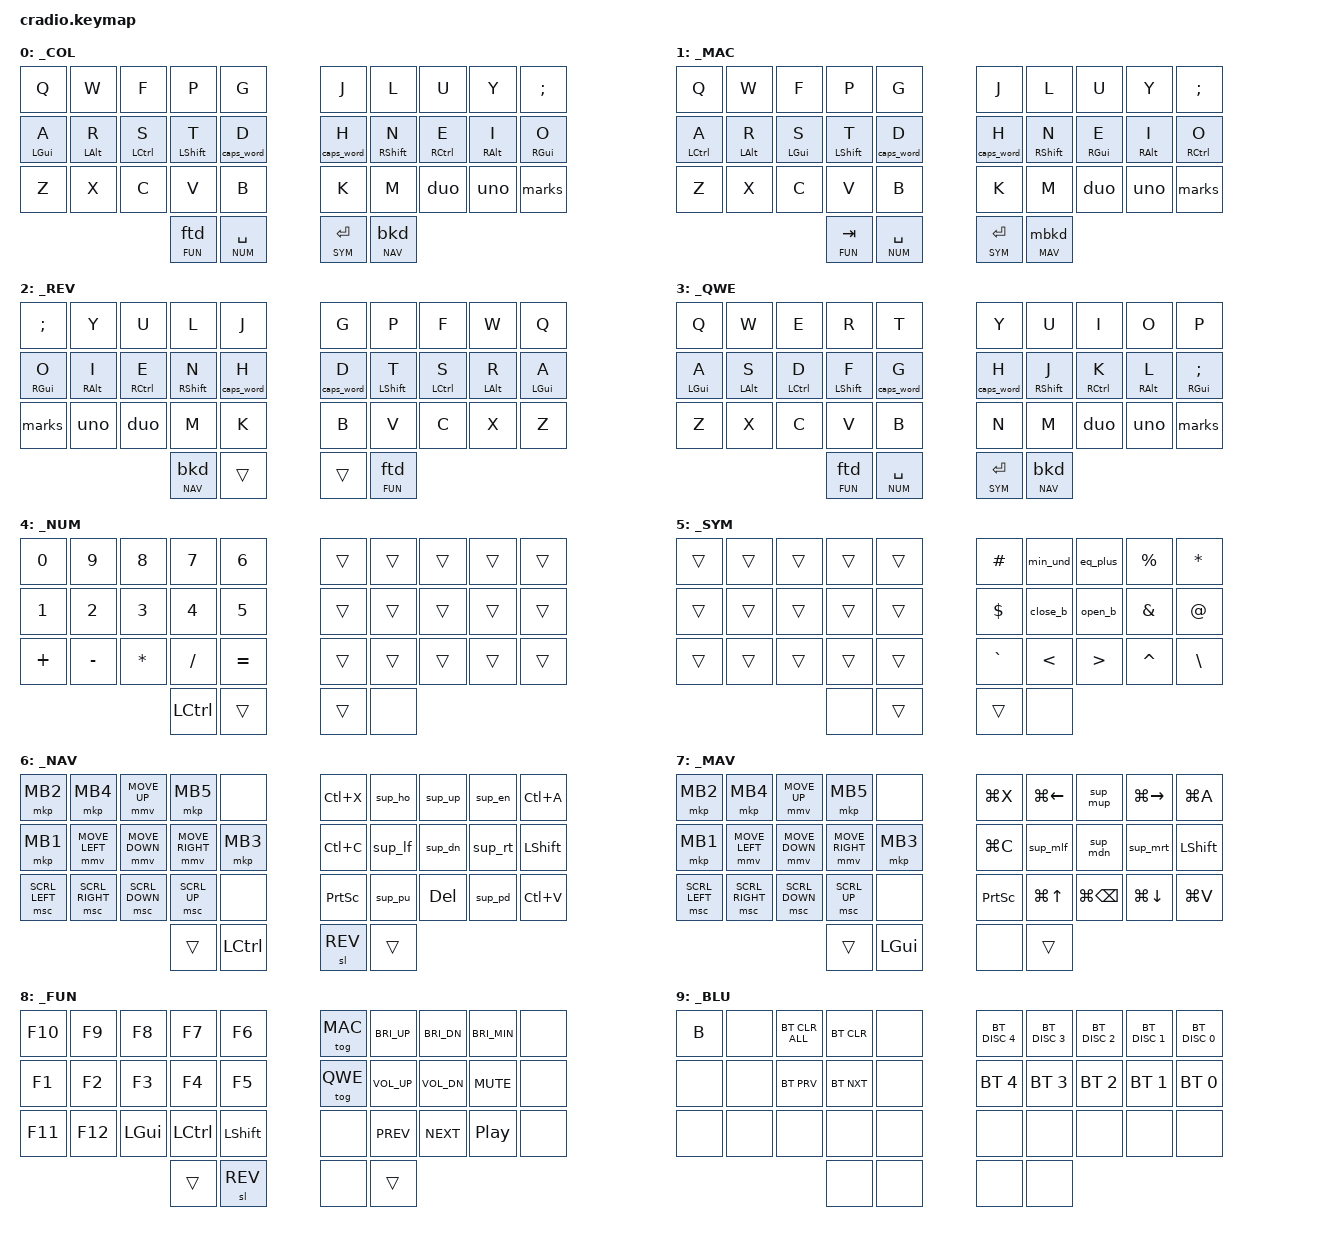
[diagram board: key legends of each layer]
// Copyright (c) 2022 The ZMK Contributors
// SPDX-License-Identifier: MIT

// Default mouse scroll and movement speeds
#define ZMK_POINTING_DEFAULT_MOVE_VAL 800  
#define ZMK_POINTING_DEFAULT_SCRL_VAL 20  

#include <behaviors.dtsi>
#include <dt-bindings/zmk/keys.h>
#include <dt-bindings/zmk/bt.h>
#include <dt-bindings/zmk/pointing.h>

// Mouse config
&mmv {
    time-to-max-speed-ms = <0>;
    acceleration-exponent = <0>;
};

&msc {
    time-to-max-speed-ms = <0>;
    acceleration-exponent = <0>;
};

// Sticky keys config
&sk {
    release-after-ms = <700>;
    lazy;
    quick-release;
    ignore-modifiers;
};

// Home row mods macro
#define COL 0
#define MAC 1
#define REV 2
#define QWE 3
#define NUM 4
#define SYM 5
#define NAV 6
#define MAV 7
#define FUN 8
#define BLU 9

/ {
    combos {
        compatible = "zmk,combos";
        lesc {
            timeout-ms = <270>;
            slow-release;
            key-positions = <0 1>;
            bindings = <&kp ESC>;
            layers = <COL NUM SYM NAV MAC MAV QWE>;
        };

        resc {
            timeout-ms = <270>;
            slow-release;
            key-positions = <8 9>;
            bindings = <&kp ESC>;
            layers = <COL NUM SYM NAV MAC MAV QWE>;
        };

        spac {
            timeout-ms = <270>;
            slow-release;
            key-positions = <30 31>;
            bindings = <&kp SPACE>;
            layers = <COL NUM SYM MAC QWE>;
        };

        bacc {
            timeout-ms = <270>;
            slow-release;
            key-positions = <32 33>;
            bindings = <&kp BSPC>;
            layers = <COL NUM SYM MAC QWE>;
        };
    };

    macros {
        back_wrd: backword_macro {
            compatible = "zmk,behavior-macro";
            #binding-cells = <0>;
            bindings = <&macro_press &kp LCTRL>, <&macro_tap &kp BSPC>, <&macro_release &kp LCTRL>;
        };

        front_wrd: frontword_macro {
            compatible = "zmk,behavior-macro";
            #binding-cells = <0>;
            bindings = <&macro_press &kp LCTRL>, <&macro_tap &kp DEL>, <&macro_release &kp LCTRL>;
        };

        back_ln: backline_macro {
            compatible = "zmk,behavior-macro";
            #binding-cells = <0>;
            bindings = <&macro_press &kp LSHFT>, <&macro_tap &kp HOME>, <&macro_release &kp LSHFT>, <&macro_tap &kp BSPC>;
        };

        front_ln: frontline_macro {
            compatible = "zmk,behavior-macro";
            #binding-cells = <0>;
            bindings = <&macro_press &kp LSHFT>, <&macro_tap &kp END>, <&macro_release &kp LSHFT>, <&macro_tap &kp BSPC>;
        };

    };

    behaviors {
        // HOME ROW BEHAVIORS
        hml: home_row_mod_left {
            compatible = "zmk,behavior-hold-tap";
            #binding-cells = <2>;
            flavor = "balanced";
            require-prior-idle-ms = <70>;
            tapping-term-ms = <160>;
            quick-tap-ms = <150>;
            bindings = <&kp>, <&kp>;
            hold-trigger-key-positions = < 5 6 7 8 9 15 16 17 18 19 25 26 27 28 29 32 33 >; // List of keys on the right side of the keyboard
            hold-trigger-on-release;
        };

        hmr: home_row_mod_right {
            compatible = "zmk,behavior-hold-tap";
            #binding-cells = <2>;
            flavor = "balanced";
            require-prior-idle-ms = <70>;
            tapping-term-ms = <160>;
            quick-tap-ms = <150>;
            bindings = <&kp>, <&kp>;
            hold-trigger-key-positions = < 0 1 2 3 4 10 11 12 13 14 20 21 22 23 24 30 31 >; // List of keys on the left side of the keyboard
            hold-trigger-on-release;
        };

        hmg: home_row_mod_gui {
            compatible = "zmk,behavior-hold-tap";
            #binding-cells = <2>;
            flavor = "tap-preferred";
            require-prior-idle-ms = <70>;
            tapping-term-ms = <200>;
            quick-tap-ms = <100>;
            bindings = <&kp>, <&kp>;
        };

         hmc: home_row_mod_caps {
            compatible = "zmk,behavior-hold-tap";
            #binding-cells = <2>;
            flavor = "tap-preferred";
            require-prior-idle-ms = <70>;
            tapping-term-ms = <200>;
            quick-tap-ms = <100>;
            bindings = <&caps_word>, <&kp>;
        };

        // COL TAP DANCE
        uno: sqt_dance {
            compatible = "zmk,behavior-tap-dance";
            #binding-cells = <0>;
            tapping-term-ms = <250>;
            bindings = <&kp DOT>, <&kp SQT>;
        };
        duo: dqt_dance {
            compatible = "zmk,behavior-tap-dance";
            #binding-cells = <0>;
            tapping-term-ms = <250>;
            bindings = <&kp COMMA>, <&kp DQT>;
        };


        // COL MORPH MOD
        marks: marks_morph {
            compatible = "zmk,behavior-mod-morph";
            #binding-cells = <0>;
            bindings = <&kp FSLH>, <&kp EXCL>;
            mods = <(MOD_LCTL|MOD_RCTL)>;
        };

        // NUM TAP DANCE
        close_b: close_dance {
            compatible = "zmk,behavior-tap-dance";
            #binding-cells = <0>;
            tapping-term-ms = <200>;
            bindings = <&kp LPAR>, <&kp LBKT>, <&kp LBRC>;
        };

        open_b: open_dance {
            compatible = "zmk,behavior-tap-dance";
            #binding-cells = <0>;
            tapping-term-ms = <200>;
            bindings = <&kp RPAR>, <&kp RBKT>, <&kp RBRC>;
        };

        min_und: minus_dance {
            compatible = "zmk,behavior-tap-dance";
            #binding-cells = <0>;
            tapping-term-ms = <200>;
            bindings = <&kp MINUS>, <&kp UNDER>;
        };

        eq_plus: equal_dance {
            compatible = "zmk,behavior-tap-dance";
            #binding-cells = <0>;
            tapping-term-ms = <200>;
            bindings = <&kp EQUAL>, <&kp PLUS>;
        };

        // NAV TAP DANCE
        sup_lf: left_dance {
            compatible = "zmk,behavior-tap-dance";
            #binding-cells = <0>;
            tapping-term-ms = <300>;
            bindings = <&kp LEFT>, <&kp LC(LEFT)>, <&kp LS(LC(LEFT))>, <&kp LG(LEFT)>; 
        };

        sup_rt: right_dance {
            compatible = "zmk,behavior-tap-dance";
            #binding-cells = <0>;
            tapping-term-ms = <300>;
            bindings = <&kp RIGHT>, <&kp LC(RIGHT)>, <&kp LS(LC(RIGHT))>, <&kp LG(RIGHT)>; 
        };

        sup_up: up_dance {
            compatible = "zmk,behavior-tap-dance";
            #binding-cells = <0>;
            tapping-term-ms = <300>;
            bindings = <&kp UP>, <&kp LC(UP)>, <&kp LS(LC(UP))>, <&kp LG(UP)>; 
        };

        sup_dn: down_dance {
            compatible = "zmk,behavior-tap-dance";
            #binding-cells = <0>;
            tapping-term-ms = <300>;
            bindings = <&kp DOWN>, <&kp LC(DOWN)>, <&kp LS(LC(DOWN))>, <&kp LG(DOWN)>; 
        };

        sup_mlf: mac_left_dance {
            compatible = "zmk,behavior-tap-dance";
            #binding-cells = <0>;
            tapping-term-ms = <300>;
            bindings = <&kp LEFT>, <&kp LA(LEFT)>, <&kp LS(LA(LEFT))>, <&kp LC(LA(LEFT))>; 
        };

        sup_mrt: mac_right_dance {
            compatible = "zmk,behavior-tap-dance";
            #binding-cells = <0>;
            tapping-term-ms = <300>;
            bindings = <&kp RIGHT>, <&kp LA(RIGHT)>, <&kp LS(LA(RIGHT))>, <&kp LC(LA(RIGHT))>; 
        };

       sup_mup: mac_up_dance {
            compatible = "zmk,behavior-tap-dance";
            #binding-cells = <0>;
            tapping-term-ms = <300>;
            bindings = <&kp UP>, <&kp LA(UP)>, <&kp LS(LA(UP))>, <&kp LC(LA(UP))>; 
        };

        sup_mdn: mac_down_dance {
            compatible = "zmk,behavior-tap-dance";
            #binding-cells = <0>;
            tapping-term-ms = <300>;
            bindings = <&kp DOWN>, <&kp LA(DOWN)>, <&kp LS(LA(DOWN))>, <&kp LC(LA(DOWN))>; 
        };

        sup_ho: home_dance {
            compatible = "zmk,behavior-tap-dance";
            #binding-cells = <0>;
            tapping-term-ms = <300>;
            bindings = <&kp HOME>, <&kp LS(HOME)>;
        };
        
        sup_en: end_dance {
            compatible = "zmk,behavior-tap-dance";
            #binding-cells = <0>;
            tapping-term-ms = <300>;
            bindings = <&kp END>, <&kp LS(END)>;
        };

        sup_pu: page_up_dance {
            compatible = "zmk,behavior-tap-dance";
            #binding-cells = <0>;
            tapping-term-ms = <300>;
            bindings = <&kp PG_UP>, <&kp LC(PG_UP)>, <&kp LS(PG_UP)>;
        };

        sup_pd: page_down_dance {
            compatible = "zmk,behavior-tap-dance";
            #binding-cells = <0>;
            tapping-term-ms = <300>;
            bindings = <&kp PG_DN>, <&kp LC(PG_DN)>, <&kp LS(PG_DN)>;
        };

        // THUMB CLUSTER TAP DANCE
        bkd: backspace_dance {
            compatible = "zmk,behavior-tap-dance";
            #binding-cells = <0>;
            tapping-term-ms = <270>;
            bindings = <&kp BSPC>, <&back_wrd>, <&back_ln>;
        };

        ftd: frontspace_dance {
            compatible = "zmk,behavior-tap-dance";
            #binding-cells = <0>;
            tapping-term-ms = <270>;
            bindings = <&kp TAB>, <&front_wrd>, <&front_ln>;
        };

        mbkd: mac_backspace_dance {
            compatible = "zmk,behavior-tap-dance";
            #binding-cells = <0>;
            tapping-term-ms = <270>;
            bindings = <&kp BSPC>, <&kp LA(BSPC)>, <&kp LG(BSPC)>;
        };

        // THUMB CLUSTERS LAYER TAP
        ftap: fun_tap {
            compatible = "zmk,behavior-hold-tap";
            #binding-cells = <2>;
            flavor = "tap-preferred";
            tapping-term-ms = <150>;
            quick-tap-ms = <100>;
            bindings = <&mo>, <&ftd>;
            display-name = "Layer-Tap";
        };

        ntap: nav_tap {
            compatible = "zmk,behavior-hold-tap";
            #binding-cells = <2>;
            flavor = "tap-preferred";
            tapping-term-ms = <150>;
            quick-tap-ms = <100>;
            bindings = <&mo>, <&bkd>;
            display-name = "Layer-Tap";
        };

        mtap: mav_tap {
            compatible = "zmk,behavior-hold-tap";
            #binding-cells = <2>;
            flavor = "tap-preferred";
            tapping-term-ms = <150>;
            quick-tap-ms = <100>;
            bindings = <&mo>, <&mbkd>;
            display-name = "Layer-Tap";
        };

        ltc: layer_tap_custom {
            compatible = "zmk,behavior-hold-tap";
            #binding-cells = <2>;
            tapping-term-ms = <150>;
            flavor = "tap-preferred";
            quick-tap-ms = <100>;
            bindings = <&mo>, <&kp>;
        };
    };

    conditional_layers {
        compatible = "zmk,conditional-layers";
        blu_layer {
            if-layers = <FUN NAV>;
            then-layer = <BLU>;
        };
        mlu_layer {
            if-layers = <FUN MAV>;
            then-layer = <BLU>;
        };
    };

    keymap {
        compatible = "zmk,keymap";
        COL_layer {
            display-name = "_COL";
            bindings = <
            &kp Q           &kp W           &kp F               &kp P               &kp G                   &kp J           &kp L           &kp U           &kp Y           &kp SEMI
            &hmg LGUI A     &hml LALT R     &hml LCTRL S        &hml LSHFT T        &hmc 0 D                &hmc 0 H        &hmr RSHFT N    &hmr RCTRL E    &hmr RALT I     &hmg RGUI O
            &kp Z           &kp X           &kp C               &kp V               &kp B                   &kp K           &kp M           &duo            &uno            &marks
                                                                &ftap FUN 0         &ltc NUM SPACE          &ltc SYM ENTER  &ntap NAV 0
            >;
        };

        MAC_layer {
            display-name = "_MAC";
            bindings = <
            &kp Q           &kp W           &kp F               &kp P               &kp G                   &kp J           &kp L           &kp U           &kp Y           &kp SEMI
            &hml LCTRL A    &hml LALT R    &hml LGUI S         &hml LSHFT T        &hmc 0 D                &hmc 0 H        &hmr RSHFT N    &hmr RGUI E     &hmr RALT I     &hmr RCTRL O
            &kp Z           &kp X           &kp C               &kp V               &kp B                   &kp K           &kp M           &duo            &uno            &marks
                                                                &ltc FUN TAB        &ltc NUM SPACE          &ltc SYM ENTER  &mtap MAV 0
            >;
        };

        REV_layer {
            display-name = "_REV";
            bindings = <
            &kp SEMI        &kp Y           &kp U               &kp L               &kp J                   &kp G           &kp P           &kp F           &kp W           &kp Q
            &hmg RGUI O     &hmr RALT I     &hmr RCTRL E        &hmr RSHFT N        &hmc 0 H                &hmc 0 D        &hml LSHFT T    &hml LCTRL S    &hml LALT R     &hmg LGUI A
            &marks          &uno            &duo                &kp M               &kp K                   &kp B           &kp V           &kp C           &kp X           &kp Z
                                                                &ntap NAV 0         &trans                  &trans          &ftap FUN 0
            >;
        };

        QWE_layer {
            display-name = "_QWE";
            bindings = <
            &kp Q           &kp W           &kp E               &kp R               &kp T                   &kp Y           &kp U           &kp I           &kp O           &kp P
            &hmg LGUI A     &hml LALT S     &hml LCTRL D        &hml LSHFT F        &hmc 0 G                &hmc 0 H        &hmr RSHFT J    &hmr RCTRL K    &hmr RALT L     &hmg RGUI SEMI
            &kp Z           &kp X           &kp C               &kp V               &kp B                   &kp N           &kp M           &duo            &uno            &marks
                                                                &ftap FUN 0         &ltc NUM SPACE          &ltc SYM ENTER  &ntap NAV 0
            >;
        };

        NUM_layer {
            display-name = "_NUM";
            bindings = <
            &kp N0          &kp N9          &kp N8              &kp N7              &kp N6                  &trans          &trans          &trans          &trans          &trans
            &kp N1          &kp N2          &kp N3              &kp N4              &kp N5                  &trans          &trans          &trans          &trans          &trans
            &kp PLUS        &kp MINUS       &kp STAR            &kp FSLH            &kp EQUAL               &trans          &trans          &trans          &trans          &trans
                                                                &kp LCTRL           &trans                  &trans          &none
            >;
        };
        
        SYM_layer {
            display-name = "_SYM";
            bindings = <
            &trans          &trans          &trans              &trans              &trans                  &kp HASH        &min_und        &eq_plus        &kp PRCNT       &kp STAR
            &trans          &trans          &trans              &trans              &trans                  &kp DLLR        &close_b        &open_b         &kp AMPS        &kp AT
            &trans          &trans          &trans              &trans              &trans                  &kp GRAVE       &kp LT          &kp GT          &kp CARET       &kp BSLH
                                                                &none               &trans                  &trans          &none
            >;
        };

        NAV_layer {
            display-name = "_NAV";
            bindings = <
            &mkp MB2        &mkp MB4        &mmv MOVE_UP        &mkp MB5            &none                   &kp LC(X)       &sup_ho         &sup_up         &sup_en         &kp LC(A)
            &mkp MB1        &mmv MOVE_LEFT  &mmv MOVE_DOWN      &mmv MOVE_RIGHT     &mkp MB3                &kp LC(C)       &sup_lf         &sup_dn         &sup_rt         &kp LSHFT
            &msc SCRL_LEFT  &msc SCRL_RIGHT &msc SCRL_DOWN      &msc SCRL_UP        &none                   &kp PSCRN       &sup_pu         &kp DEL         &sup_pd         &kp LC(V)
                                                                &trans              &kp LCTRL               &sl REV         &trans
            >;
        };

        MAV_layer {
            display-name = "_MAV";
            bindings = <
            &mkp MB2        &mkp MB4        &mmv MOVE_UP        &mkp MB5            &none                   &kp LG(X)       &kp LG(LEFT)    &sup_mup        &kp LG(RIGHT)   &kp LG(A)
            &mkp MB1        &mmv MOVE_LEFT  &mmv MOVE_DOWN      &mmv MOVE_RIGHT     &mkp MB3                &kp LG(C)       &sup_mlf        &sup_mdn        &sup_mrt         &kp LSHFT
            &msc SCRL_LEFT  &msc SCRL_RIGHT &msc SCRL_DOWN      &msc SCRL_UP        &none                   &kp PSCRN       &kp LG(UP)      &kp LG(BSPC)    &kp LG(DOWN)    &kp LG(V)
                                                                &trans              &kp LGUI                &none           &trans
            >;
        };

        FUN_layer {
            display-name = "_FUN";
            bindings = <
            &kp F10         &kp F9          &kp F8              &kp F7              &kp F6                  &tog MAC        &kp C_BRI_UP    &kp C_BRI_DN    &kp C_BRI_MIN   &none
            &kp F1          &kp F2          &kp F3              &kp F4              &kp F5                  &tog QWE        &kp C_VOL_UP    &kp C_VOL_DN    &kp C_MUTE      &none
            &kp F11         &kp F12         &kp LGUI            &kp LCTRL           &kp LSHFT               &none           &kp C_PREV      &kp C_NEXT      &kp C_PP        &none
                                                                &trans              &sl REV                 &none           &trans
            >;
        };

        BLU_layer {
            display-name = "_BLU";
            bindings = <
            &kp B           &none           &bt BT_CLR_ALL      &bt BT_CLR          &none                   &bt BT_DISC 4   &bt BT_DISC 3   &bt BT_DISC 2   &bt BT_DISC 1   &bt BT_DISC 0
            &none           &none           &bt BT_PRV          &bt BT_NXT          &none                   &bt BT_SEL 4    &bt BT_SEL 3    &bt BT_SEL 2    &bt BT_SEL 1    &bt BT_SEL 0
            &none           &none           &none               &none               &none                   &none           &none           &none           &none           &none
                                                                &none               &none                   &none           &none
            >;
        };
    };
};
